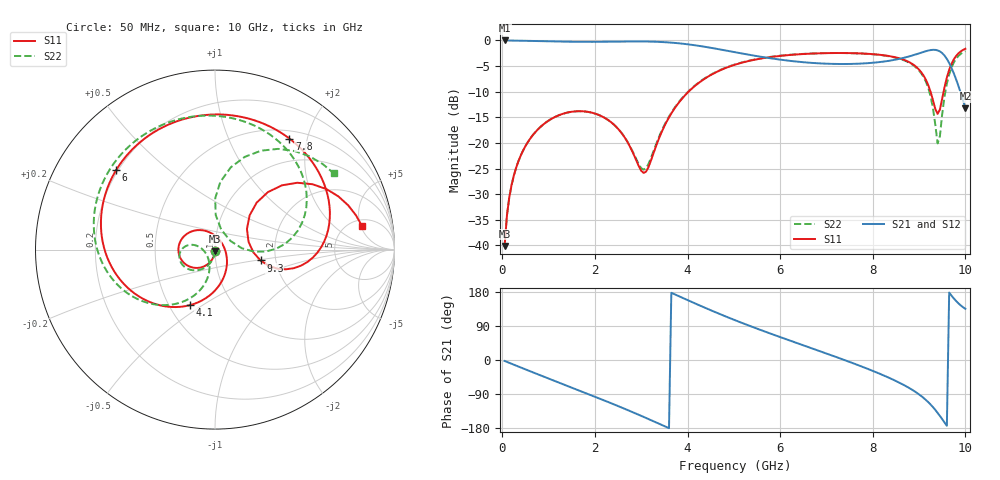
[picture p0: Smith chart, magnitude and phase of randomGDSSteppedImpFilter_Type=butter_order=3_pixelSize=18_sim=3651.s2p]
! freq	dB(S11)	phase(S11)	dB(S12)	phase(S12)
!  dB(S21)	phase(S21)	dB(S22)	phase(S22)
!S-par simulation data
#  GHz  S  DB  R 50
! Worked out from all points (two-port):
!   200 points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, 50 MHz to 10 GHz, reference 50 ohm
!   highest |S21| = 0.00 dB at 50 MHz (marker M1); lowest = -13.2 dB at 10 GHz (marker M2)
!   |S21| within 3 dB of the highest: start of sweep to 5.461 GHz; 8.83 GHz to 9.553 GHz (723.1 MHz wide, 7.87 % of centre)
!   lowest |S11| = -40.1 dB at 50 MHz (marker M3), VSWR 1.02, Z = 50 - j0.985 ohm
!   |S11| at or under -10 dB: start of sweep to 4.023 GHz; 9.247 GHz to 9.53 GHz (283.1 MHz wide, 3.02 % of centre)
!   |S22| runs from -40.2 to -2.1 dB; largest |S21 - S12| = 0
!   S11 on the Smith chart (normalised r, x): 50 MHz: 1.00, -0.02; 4.1 GHz: 0.63, -0.44; 6 GHz: 0.19, +0.34; 7.8 GHz: 0.61, +1.71; 9.3 GHz: 1.66, -0.22; 10 GHz: 6.14, +5.23
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0.05  -40.12 -92.1  -0.00 -2.5  -0.00 -2.5  -40.15 -92.0
0.1  -34.16 -95.1  -0.01 -5.0  -0.01 -5.0  -34.16 -94.4
0.2  -28.23 -100.9  -0.02 -10.0  -0.02 -10.0  -28.23 -99.3
0.5  -20.62 -117.2  -0.07 -24.7  -0.07 -24.7  -20.62 -113.3
1.05  -15.36 -146.5  -0.19 -51.4  -0.19 -51.4  -15.36 -137.7
1.75  -13.83 175.8  -0.28 -84.9  -0.28 -84.9  -13.83 -166.8
2.45  -16.77 131.6  -0.23 -119.0  -0.23 -119.0  -16.76 169.7
3.05  -25.85 31.5  -0.20 -150.0  -0.20 -150.0  -25.22 -151.5
3.4  -18.75 -55.8  -0.29 -169.0  -0.29 -169.0  -18.48 -105.3
4.1  -9.34 -114.6  -0.87 152.6  -0.87 152.6  -9.25 -122.2
5.05  -4.66 -170.7  -2.34 103.9  -2.34 103.9  -4.60 -162.6
6  -3.02 141.3  -3.75 60.5  -3.75 60.5  -2.97 159.5
6.7  -2.56 108.2  -4.39 30.1  -4.39 30.1  -2.54 132.5
7.8  -2.56 56.2  -4.49 -19.0  -4.49 -19.0  -2.58 86.9
8.35  -3.04 28.8  -3.98 -46.9  -3.98 -46.9  -3.10 59.8
8.9  -4.88 -1.8  -2.81 -82.4  -2.81 -82.4  -5.02 24.9
9.15  -7.73 -15.5  -2.09 -105.7  -2.09 -105.7  -8.13 4.7
9.3  -11.67 -13.5  -1.83 -124.4  -1.83 -124.4  -13.22 -3.0
9.4  -14.34 13.2  -1.94 -139.4  -1.94 -139.4  -20.11 29.1
9.65  -5.73 43.8  -4.40 178.0  -4.40 178.0  -6.63 79.2
9.8  -3.02 28.5  -7.61 155.6  -7.61 155.6  -3.58 57.9
10  -1.63 9.3  -13.21 135.1  -13.21 135.1  -2.09 32.8
